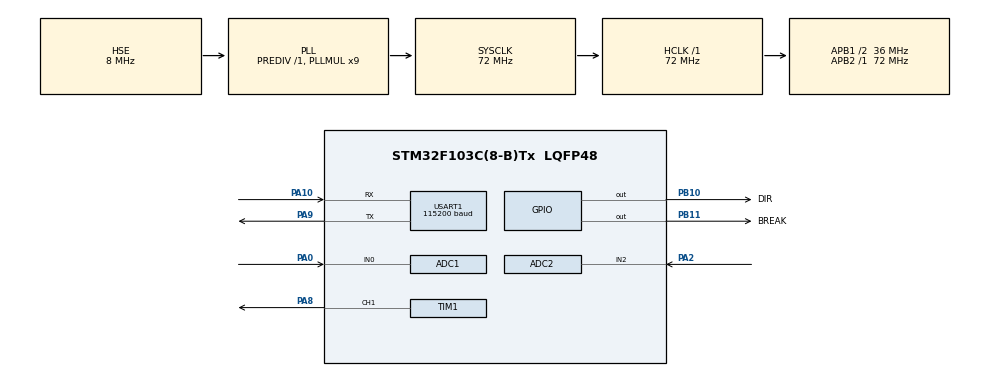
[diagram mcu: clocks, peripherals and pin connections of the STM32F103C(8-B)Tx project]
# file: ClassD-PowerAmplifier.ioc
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ADC1.Channel-0\#ChannelRegularConversion=ADC_CHANNEL_0
ADC1.Channel-1\#ChannelInjectedConversion=ADC_CHANNEL_0
ADC1.ContinuousConvMode=ENABLE
ADC1.DataAlign=ADC_DATAALIGN_RIGHT
ADC1.DiscontinuousConvMode=DISABLE
ADC1.EnableAnalogWatchDog=false
ADC1.EnableRegularConversion=ENABLE
ADC1.ExternalTrigConv=ADC_EXTERNALTRIGCONV_T3_TRGO
ADC1.ExternalTrigConvEdgeChoice=RISING
ADC1.ExternalTrigInjecConvEdgeChoice=NONE
ADC1.InjNumberOfConversion=1
ADC1.InjectedConvMode=None
ADC1.InjectedOffset-1\#ChannelInjectedConversion=0
ADC1.NbrOfConversion=1
ADC1.NbrOfConversionFlag=1
ADC1.Rank-0\#ChannelRegularConversion=1
ADC1.Rank-1\#ChannelInjectedConversion=1
ADC1.SamplingTime-0\#ChannelRegularConversion=ADC_SAMPLETIME_71CYCLES_5
ADC1.SamplingTime-1\#ChannelInjectedConversion=ADC_SAMPLETIME_71CYCLES_5
ADC1.ScanConvMode=ADC_SCAN_DISABLE
ADC1.master=1
ADC2.Channel-0\#ChannelRegularConversion=ADC_CHANNEL_2
ADC2.ContinuousConvMode=ENABLE
ADC2.NbrOfConversionFlag=1
ADC2.Rank-0\#ChannelRegularConversion=1
ADC2.SamplingTime-0\#ChannelRegularConversion=ADC_SAMPLETIME_1CYCLE_5
Dma.ADC1.0.Direction=DMA_PERIPH_TO_MEMORY
Dma.ADC1.0.Instance=DMA1_Channel1
Dma.ADC1.0.MemDataAlignment=DMA_MDATAALIGN_HALFWORD
Dma.ADC1.0.MemInc=DMA_MINC_ENABLE
Dma.ADC1.0.Mode=DMA_NORMAL
Dma.ADC1.0.PeriphDataAlignment=DMA_PDATAALIGN_HALFWORD
Dma.ADC1.0.PeriphInc=DMA_PINC_DISABLE
Dma.ADC1.0.Priority=DMA_PRIORITY_LOW
Dma.Request0=ADC1
Mcu.Family=STM32F1
Mcu.Name=STM32F103C(8-B)Tx
Mcu.Package=LQFP48
Mcu.UserConstants=TIM_MAX,720;AUDIO_FREQ,10000
NVIC.DMA1_Channel1_IRQn=true\:0\:0\:false\:false\:true
NVIC.PriorityGroup=NVIC_PRIORITYGROUP_4
NVIC.TIM2_IRQn=true\:0\:0\:false\:false\:true
NVIC.TIM3_IRQn=true\:0\:0\:false\:false\:true
NVIC.TimeBase=TIM2_IRQn
NVIC.TimeBaseIP=TIM2
PA0-WKUP.Signal=ADCx_IN0
PA10.Mode=Asynchronous
PA10.Signal=USART1_RX
PA13.Mode=Serial_Wire
PA13.Signal=SYS_JTMS-SWDIO
PA14.Mode=Serial_Wire
PA14.Signal=SYS_JTCK-SWCLK
PA2.Signal=ADCx_IN2
PA8.GPIO_ModeDefaultPP=GPIO_MODE_AF_PP
PA8.GPIO_Speed=GPIO_SPEED_FREQ_HIGH
PA8.Signal=S_TIM1_CH1
PA9.Mode=Asynchronous
PA9.Signal=USART1_TX
PB10.GPIO_Label=DIR
PB10.Signal=GPIO_Output
PB11.GPIO_Label=BREAK
PB11.PinState=GPIO_PIN_SET
PB11.Signal=GPIO_Output
PD0-OSC_IN.Mode=HSE-External-Oscillator
PD0-OSC_IN.Signal=RCC_OSC_IN
PD1-OSC_OUT.Mode=HSE-External-Oscillator
PD1-OSC_OUT.Signal=RCC_OSC_OUT
ProjectManager.HeapSize=0x400
ProjectManager.StackSize=0x800
ProjectManager.TargetToolchain=MDK-ARM V5
RCC.ADCPresc=RCC_ADCPCLK2_DIV6
RCC.AHBFreq_Value=72000000
RCC.APB1CLKDivider=RCC_HCLK_DIV2
RCC.APB1Freq_Value=36000000
RCC.APB1TimFreq_Value=72000000
RCC.APB2Freq_Value=72000000
RCC.APB2TimFreq_Value=72000000
RCC.HCLKFreq_Value=72000000
RCC.HSIState=RCC_HSI_ON
RCC.PLLMUL=RCC_PLL_MUL9
RCC.PLLSourceVirtual=RCC_PLLSOURCE_HSE
RCC.SYSCLKFreq_VALUE=72000000
RCC.SYSCLKSource=RCC_SYSCLKSOURCE_PLLCLK
RCC.USBFreq_Value=48000000
RCC.USBPrescaler=RCC_USBCLKSOURCE_PLL_DIV1_5
SH.ADCx_IN0.0=ADC1_IN0,IN0
SH.ADCx_IN2.0=ADC2_IN2,IN2
SH.S_TIM1_CH1.0=TIM1_CH1,PWM Generation1 CH1
TIM1.AutomaticOutput=TIM_AUTOMATICOUTPUT_DISABLE
TIM1.BreakPolarity=TIM_BREAKPOLARITY_LOW
TIM1.BreakState=TIM_BREAK_DISABLE
TIM1.LockLevel=TIM_LOCKLEVEL_OFF
TIM1.OCFastMode_PWM-PWM\ Generation1\ CH1=TIM_OCFAST_ENABLE
TIM1.OffStateIDLEMode=TIM_OSSI_DISABLE
TIM1.OffStateRunMode=TIM_OSSR_DISABLE
TIM1.Period=719
TIM1.Pulse-PWM\ Generation1\ CH1=359
TIM1.TIM_MasterOutputTrigger=TIM_TRGO_RESET
TIM1.TIM_MasterSlaveMode=TIM_MASTERSLAVEMODE_DISABLE
TIM3.Period=99
TIM3.Prescaler=71
TIM3.TIM_MasterOutputTrigger=TIM_TRGO_UPDATE
TIM3.TIM_MasterSlaveMode=TIM_MASTERSLAVEMODE_DISABLE
USART1.BaudRate=115200
VP_SYS_VS_tim2.Mode=TIM2
VP_TIM1_VS_ClockSourceINT.Mode=Internal
VP_TIM1_VS_ClockSourceITR.Mode=TriggerSource_ITR0
VP_TIM1_VS_ControllerModeTrigger.Mode=Trigger Mode
VP_TIM3_VS_ClockSourceITR.Mode=TriggerSource_ITR0
board=ClassD-PowerAmplifier

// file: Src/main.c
/**
  ******************************************************************************
  * File Name          : main.c
  * Description        : Main program body
  ******************************************************************************
  *
  * COPYRIGHT(c) 2016 STMicroelectronics
  *
  * Redistribution and use in source and binary forms, with or without modification,
  * are permitted provided that the following conditions are met:
  *   1. Redistributions of source code must retain the above copyright notice,
  *      this list of conditions and the following disclaimer.
  *   2. Redistributions in binary form must reproduce the above copyright notice,
  *      this list of conditions and the following disclaimer in the documentation
  *      and/or other materials provided with the distribution.
  *   3. Neither the name of STMicroelectronics nor the names of its contributors
  *      may be used to endorse or promote products derived from this software
  *      without specific prior written permission.
  *
  * THIS SOFTWARE IS PROVIDED BY THE COPYRIGHT HOLDERS AND CONTRIBUTORS "AS IS"
  * AND ANY EXPRESS OR IMPLIED WARRANTIES, INCLUDING, BUT NOT LIMITED TO, THE
  * IMPLIED WARRANTIES OF MERCHANTABILITY AND FITNESS FOR A PARTICULAR PURPOSE ARE
  * DISCLAIMED. IN NO EVENT SHALL THE COPYRIGHT HOLDER OR CONTRIBUTORS BE LIABLE
  * FOR ANY DIRECT, INDIRECT, INCIDENTAL, SPECIAL, EXEMPLARY, OR CONSEQUENTIAL
  * DAMAGES (INCLUDING, BUT NOT LIMITED TO, PROCUREMENT OF SUBSTITUTE GOODS OR
  * SERVICES; LOSS OF USE, DATA, OR PROFITS; OR BUSINESS INTERRUPTION) HOWEVER
  * CAUSED AND ON ANY THEORY OF LIABILITY, WHETHER IN CONTRACT, STRICT LIABILITY,
  * OR TORT (INCLUDING NEGLIGENCE OR OTHERWISE) ARISING IN ANY WAY OUT OF THE USE
  * OF THIS SOFTWARE, EVEN IF ADVISED OF THE POSSIBILITY OF SUCH DAMAGE.
  *
  ******************************************************************************
  */
#include "stm32f1xx_hal.h"

/* USER CODE BEGIN Includes */
#include <arm_math.h>
#include <math.h>
/* USER CODE END Includes */

ADC_HandleTypeDef hadc1;
ADC_HandleTypeDef hadc2;
DMA_HandleTypeDef hdma_adc1;

TIM_HandleTypeDef htim1;
TIM_HandleTypeDef htim3;

UART_HandleTypeDef huart1;

/* USER CODE BEGIN PV */
/* Private variables ---------------------------------------------------------*/

/* USER CODE END PV */

void SystemClock_Config(void);
void Error_Handler(void);
static void MX_GPIO_Init(void);
static void MX_DMA_Init(void);
static void MX_ADC1_Init(void);
static void MX_TIM1_Init(void);
static void MX_USART1_UART_Init(void);
static void MX_TIM3_Init(void);
static void MX_ADC2_Init(void);

void HAL_TIM_MspPostInit(TIM_HandleTypeDef *htim);

/* USER CODE BEGIN PFP */
/* Private function prototypes -----------------------------------------------*/
#define ADC_BUFFER_SIZE 256
int16_t Adc_Val[2][ADC_BUFFER_SIZE] = {0};
uint8_t Convert_Done = 0;
uint8_t Loop_loc     = 0;

/* User Control Flag */
enum {System_ON, System_OFF} System_Status = System_ON;
#define MAX_AUDIO    20
#define MAX_offset   25
enum {Aduio_none, Aduio_echo} Audio_effect = Aduio_none;
uint8_t Audio_Grade = 5; //(0~20), Aduio_Grade=20 is louder

extern uint8_t CDC_Transmit_FS(uint8_t* Buf, uint16_t Len);
/* USER CODE END PFP */

/* USER CODE BEGIN 0 */
void Audio_Output(void) {
  static uint32_t cnt;
  uint8_t loc = (Loop_loc - 1)%2;
  if (System_Status == System_ON) {
    TIM3->CCR1 = ((Adc_Val[loc][cnt]>0 ? Adc_Val[loc][cnt] : -Adc_Val[loc][cnt]) * TIM_MAX / 0x800);
    if (Adc_Val[loc][cnt] < 0)
    HAL_GPIO_WritePin(DIR_GPIO_Port, DIR_Pin, GPIO_PIN_SET);
    else
    HAL_GPIO_WritePin(DIR_GPIO_Port, DIR_Pin, GPIO_PIN_RESET);
    HAL_GPIO_WritePin(BREAK_GPIO_Port, BREAK_Pin, GPIO_PIN_RESET);
  }
  else if (System_Status == System_OFF) {
    TIM3->CCR1 = 0;
    HAL_GPIO_WritePin(BREAK_GPIO_Port, BREAK_Pin, GPIO_PIN_SET);
  }

  //whatever system is running, shift pointer.
  cnt += 1;
  cnt %= ADC_BUFFER_SIZE;
}
void Audio_Get(void) {
  HAL_TIM_Base_Start(&htim3);
  HAL_ADCEx_Calibration_Start(&hadc1);
  HAL_ADCEx_Calibration_Start(&hadc2);
  HAL_ADC_Start(&hadc2);
	HAL_Delay(100);
  HAL_ADC_Start_DMA(&hadc1, (uint32_t*)&Adc_Val[Loop_loc], ADC_BUFFER_SIZE);
}

void PWM_Set(void) {
  HAL_TIM_Base_Start(&htim1);
  HAL_TIM_PWM_Start(&htim1, TIM_CHANNEL_4);
}

void HAL_ADC_ConvCpltCallback(ADC_HandleTypeDef* hadc) {
	uint16_t cnt;
	int16_t *pt = Adc_Val[Loop_loc];

	for (cnt = 0; cnt < ADC_BUFFER_SIZE; cnt++, pt++) {
		//Get Real Val
		*pt &= 0x0FFF;
		*pt -= 0xD54;

    //Voice Grade
    *pt = *pt * Audio_Grade / MAX_offset;

    //audio effect
    if (Audio_effect == Aduio_echo) {
      if (cnt >= 5)
      *(pt - 5) += *pt / 4;
    }
	}
  Convert_Done = 1;
	if (Convert_Done) {
		Convert_Done = 0;
		Loop_loc = (Loop_loc + 1) % 2;
		HAL_ADC_Start_DMA(&hadc1, (uint32_t*)&Adc_Val[Loop_loc], ADC_BUFFER_SIZE);
	}
}

/* USER CODE END 0 */

int main(void)
{

  /* MCU Configuration----------------------------------------------------------*/

  /* Reset of all peripherals, Initializes the Flash interface and the Systick. */
  HAL_Init();

  /* Configure the system clock */
  SystemClock_Config();

  /* Initialize all configured peripherals */
  MX_GPIO_Init();
  MX_DMA_Init();
  MX_ADC1_Init();
  MX_TIM1_Init();
  MX_USART1_UART_Init();
  MX_TIM3_Init();
  MX_ADC2_Init();

  /* USER CODE BEGIN 2 */
  Audio_Get();
  PWM_Set();
  /* USER CODE END 2 */

  /* Infinite loop */
  while (1)
  {

  }

}

/** System Clock Configuration
*/
void SystemClock_Config(void)
{

  RCC_OscInitTypeDef RCC_OscInitStruct;
  RCC_ClkInitTypeDef RCC_ClkInitStruct;
  RCC_PeriphCLKInitTypeDef PeriphClkInit;

  RCC_OscInitStruct.OscillatorType = RCC_OSCILLATORTYPE_HSE;
  RCC_OscInitStruct.HSEState = RCC_HSE_ON;
  RCC_OscInitStruct.HSEPredivValue = RCC_HSE_PREDIV_DIV1;
  RCC_OscInitStruct.PLL.PLLState = RCC_PLL_ON;
  RCC_OscInitStruct.PLL.PLLSource = RCC_PLLSOURCE_HSE;
  RCC_OscInitStruct.PLL.PLLMUL = RCC_PLL_MUL9;
  if (HAL_RCC_OscConfig(&RCC_OscInitStruct) != HAL_OK)
  {
    Error_Handler();
  }

  RCC_ClkInitStruct.ClockType = RCC_CLOCKTYPE_HCLK|RCC_CLOCKTYPE_SYSCLK
                              |RCC_CLOCKTYPE_PCLK1|RCC_CLOCKTYPE_PCLK2;
  RCC_ClkInitStruct.SYSCLKSource = RCC_SYSCLKSOURCE_PLLCLK;
  RCC_ClkInitStruct.AHBCLKDivider = RCC_SYSCLK_DIV1;
  RCC_ClkInitStruct.APB1CLKDivider = RCC_HCLK_DIV2;
  RCC_ClkInitStruct.APB2CLKDivider = RCC_HCLK_DIV1;
  if (HAL_RCC_ClockConfig(&RCC_ClkInitStruct, FLASH_LATENCY_2) != HAL_OK)
  {
    Error_Handler();
  }

  PeriphClkInit.PeriphClockSelection = RCC_PERIPHCLK_ADC;
  PeriphClkInit.AdcClockSelection = RCC_ADCPCLK2_DIV6;
  if (HAL_RCCEx_PeriphCLKConfig(&PeriphClkInit) != HAL_OK)
  {
    Error_Handler();
  }

  HAL_SYSTICK_Config(HAL_RCC_GetHCLKFreq()/1000);

  HAL_SYSTICK_CLKSourceConfig(SYSTICK_CLKSOURCE_HCLK);

  /* SysTick_IRQn interrupt configuration */
  HAL_NVIC_SetPriority(SysTick_IRQn, 0, 0);
}

/* ADC1 init function */
static void MX_ADC1_Init(void)
{

  ADC_ChannelConfTypeDef sConfig;
  ADC_InjectionConfTypeDef sConfigInjected;

    /**Common config
    */
  hadc1.Instance = ADC1;
  hadc1.Init.ScanConvMode = ADC_SCAN_DISABLE;
  hadc1.Init.ContinuousConvMode = ENABLE;
  hadc1.Init.DiscontinuousConvMode = DISABLE;
  hadc1.Init.ExternalTrigConv = ADC_EXTERNALTRIGCONV_T3_TRGO;
  hadc1.Init.DataAlign = ADC_DATAALIGN_RIGHT;
  hadc1.Init.NbrOfConversion = 1;
  if (HAL_ADC_Init(&hadc1) != HAL_OK)
  {
    Error_Handler();
  }

    /**Configure Regular Channel
    */
  sConfig.Channel = ADC_CHANNEL_0;
  sConfig.Rank = 1;
  sConfig.SamplingTime = ADC_SAMPLETIME_71CYCLES_5;
  if (HAL_ADC_ConfigChannel(&hadc1, &sConfig) != HAL_OK)
  {
    Error_Handler();
  }

    /**Configure Injected Channel
    */
  sConfigInjected.InjectedChannel = ADC_CHANNEL_0;
  sConfigInjected.InjectedRank = 1;
  sConfigInjected.InjectedNbrOfConversion = 1;
  sConfigInjected.InjectedSamplingTime = ADC_SAMPLETIME_71CYCLES_5;
  sConfigInjected.ExternalTrigInjecConv = ADC_INJECTED_SOFTWARE_START;
  sConfigInjected.AutoInjectedConv = DISABLE;
  sConfigInjected.InjectedDiscontinuousConvMode = DISABLE;
  sConfigInjected.InjectedOffset = 0;
  if (HAL_ADCEx_InjectedConfigChannel(&hadc1, &sConfigInjected) != HAL_OK)
  {
    Error_Handler();
  }

}

/* ADC2 init function */
static void MX_ADC2_Init(void)
{

  ADC_ChannelConfTypeDef sConfig;

    /**Common config
    */
  hadc2.Instance = ADC2;
  hadc2.Init.ScanConvMode = ADC_SCAN_DISABLE;
  hadc2.Init.ContinuousConvMode = ENABLE;
  hadc2.Init.DiscontinuousConvMode = DISABLE;
  hadc2.Init.ExternalTrigConv = ADC_SOFTWARE_START;
  hadc2.Init.DataAlign = ADC_DATAALIGN_RIGHT;
  hadc2.Init.NbrOfConversion = 1;
  if (HAL_ADC_Init(&hadc2) != HAL_OK)
  {
    Error_Handler();
  }

    /**Configure Regular Channel
    */
  sConfig.Channel = ADC_CHANNEL_2;
  sConfig.Rank = 1;
  sConfig.SamplingTime = ADC_SAMPLETIME_1CYCLE_5;
  if (HAL_ADC_ConfigChannel(&hadc2, &sConfig) != HAL_OK)
  {
    Error_Handler();
  }

}

/* TIM1 init function */
static void MX_TIM1_Init(void)
{

  TIM_ClockConfigTypeDef sClockSourceConfig;
  TIM_SlaveConfigTypeDef sSlaveConfig;
  TIM_MasterConfigTypeDef sMasterConfig;
  TIM_BreakDeadTimeConfigTypeDef sBreakDeadTimeConfig;
  TIM_OC_InitTypeDef sConfigOC;

  htim1.Instance = TIM1;
  htim1.Init.Prescaler = 0;
  htim1.Init.CounterMode = TIM_COUNTERMODE_UP;
  htim1.Init.Period = 719;
  htim1.Init.ClockDivision = TIM_CLOCKDIVISION_DIV1;
  htim1.Init.RepetitionCounter = 0;
  if (HAL_TIM_Base_Init(&htim1) != HAL_OK)
  {
    Error_Handler();
  }

  sClockSourceConfig.ClockSource = TIM_CLOCKSOURCE_INTERNAL;
  if (HAL_TIM_ConfigClockSource(&htim1, &sClockSourceConfig) != HAL_OK)
  {
    Error_Handler();
  }

  if (HAL_TIM_PWM_Init(&htim1) != HAL_OK)
  {
    Error_Handler();
  }

  sSlaveConfig.SlaveMode = TIM_SLAVEMODE_TRIGGER;
  sSlaveConfig.InputTrigger = TIM_TS_ITR0;
  if (HAL_TIM_SlaveConfigSynchronization(&htim1, &sSlaveConfig) != HAL_OK)
  {
    Error_Handler();
  }

  sMasterConfig.MasterOutputTrigger = TIM_TRGO_RESET;
  sMasterConfig.MasterSlaveMode = TIM_MASTERSLAVEMODE_DISABLE;
  if (HAL_TIMEx_MasterConfigSynchronization(&htim1, &sMasterConfig) != HAL_OK)
  {
    Error_Handler();
  }

  sBreakDeadTimeConfig.OffStateRunMode = TIM_OSSR_DISABLE;
  sBreakDeadTimeConfig.OffStateIDLEMode = TIM_OSSI_DISABLE;
  sBreakDeadTimeConfig.LockLevel = TIM_LOCKLEVEL_OFF;
  sBreakDeadTimeConfig.DeadTime = 0;
  sBreakDeadTimeConfig.BreakState = TIM_BREAK_DISABLE;
  sBreakDeadTimeConfig.BreakPolarity = TIM_BREAKPOLARITY_LOW;
  sBreakDeadTimeConfig.AutomaticOutput = TIM_AUTOMATICOUTPUT_DISABLE;
  if (HAL_TIMEx_ConfigBreakDeadTime(&htim1, &sBreakDeadTimeConfig) != HAL_OK)
  {
    Error_Handler();
  }

  sConfigOC.OCMode = TIM_OCMODE_PWM1;
  sConfigOC.Pulse = 359;
  sConfigOC.OCPolarity = TIM_OCPOLARITY_HIGH;
  sConfigOC.OCNPolarity = TIM_OCNPOLARITY_HIGH;
  sConfigOC.OCFastMode = TIM_OCFAST_ENABLE;
  sConfigOC.OCIdleState = TIM_OCIDLESTATE_RESET;
  sConfigOC.OCNIdleState = TIM_OCNIDLESTATE_RESET;
  if (HAL_TIM_PWM_ConfigChannel(&htim1, &sConfigOC, TIM_CHANNEL_1) != HAL_OK)
  {
    Error_Handler();
  }

  HAL_TIM_MspPostInit(&htim1);

}

/* TIM3 init function */
static void MX_TIM3_Init(void)
{

  TIM_SlaveConfigTypeDef sSlaveConfig;
  TIM_MasterConfigTypeDef sMasterConfig;

  htim3.Instance = TIM3;
  htim3.Init.Prescaler = 71;
  htim3.Init.CounterMode = TIM_COUNTERMODE_UP;
  htim3.Init.Period = 99;
  htim3.Init.ClockDivision = TIM_CLOCKDIVISION_DIV1;
  if (HAL_TIM_Base_Init(&htim3) != HAL_OK)
  {
    Error_Handler();
  }

  sSlaveConfig.SlaveMode = TIM_SLAVEMODE_DISABLE;
  sSlaveConfig.InputTrigger = TIM_TS_ITR0;
  if (HAL_TIM_SlaveConfigSynchronization(&htim3, &sSlaveConfig) != HAL_OK)
  {
    Error_Handler();
  }

  sMasterConfig.MasterOutputTrigger = TIM_TRGO_UPDATE;
  sMasterConfig.MasterSlaveMode = TIM_MASTERSLAVEMODE_DISABLE;
  if (HAL_TIMEx_MasterConfigSynchronization(&htim3, &sMasterConfig) != HAL_OK)
  {
    Error_Handler();
  }

}

/* USART1 init function */
static void MX_USART1_UART_Init(void)
{

  huart1.Instance = USART1;
  huart1.Init.BaudRate = 115200;
  huart1.Init.WordLength = UART_WORDLENGTH_8B;
  huart1.Init.StopBits = UART_STOPBITS_1;
  huart1.Init.Parity = UART_PARITY_NONE;
  huart1.Init.Mode = UART_MODE_TX_RX;
  huart1.Init.HwFlowCtl = UART_HWCONTROL_NONE;
  huart1.Init.OverSampling = UART_OVERSAMPLING_16;
  if (HAL_UART_Init(&huart1) != HAL_OK)
  {
    Error_Handler();
  }

}

static void MX_DMA_Init(void)
{
  /* DMA controller clock enable */
  __HAL_RCC_DMA1_CLK_ENABLE();

  /* DMA interrupt init */
  /* DMA1_Channel1_IRQn interrupt configuration */
  HAL_NVIC_SetPriority(DMA1_Channel1_IRQn, 0, 0);
  HAL_NVIC_EnableIRQ(DMA1_Channel1_IRQn);

}

/** Configure pins as
        * Analog
        * Input
        * Output
        * EVENT_OUT
        * EXTI
*/
static void MX_GPIO_Init(void)
{

  GPIO_InitTypeDef GPIO_InitStruct;

  /* GPIO Ports Clock Enable */
  __HAL_RCC_GPIOD_CLK_ENABLE();
  __HAL_RCC_GPIOA_CLK_ENABLE();
  __HAL_RCC_GPIOB_CLK_ENABLE();

  /*Configure GPIO pin Output Level */
  HAL_GPIO_WritePin(DIR_GPIO_Port, DIR_Pin, GPIO_PIN_RESET);

  /*Configure GPIO pin Output Level */
  HAL_GPIO_WritePin(BREAK_GPIO_Port, BREAK_Pin, GPIO_PIN_SET);

  /*Configure GPIO pins : DIR_Pin BREAK_Pin */
  GPIO_InitStruct.Pin = DIR_Pin|BREAK_Pin;
  GPIO_InitStruct.Mode = GPIO_MODE_OUTPUT_PP;
  GPIO_InitStruct.Speed = GPIO_SPEED_FREQ_LOW;
  HAL_GPIO_Init(GPIOB, &GPIO_InitStruct);

}

void HAL_TIM_PeriodElapsedCallback(TIM_HandleTypeDef *htim)
{
  if (htim->Instance == TIM2) {
    HAL_IncTick();
  }
/* USER CODE BEGIN Callback 1 */
  if (htim->Instance == TIM3) {
    Audio_Output();
  }
/* USER CODE END Callback 1 */
}

void Error_Handler(void)
{
  while(1)
  {
  }
}

/************************ (C) COPYRIGHT STMicroelectronics *****END OF FILE****/
